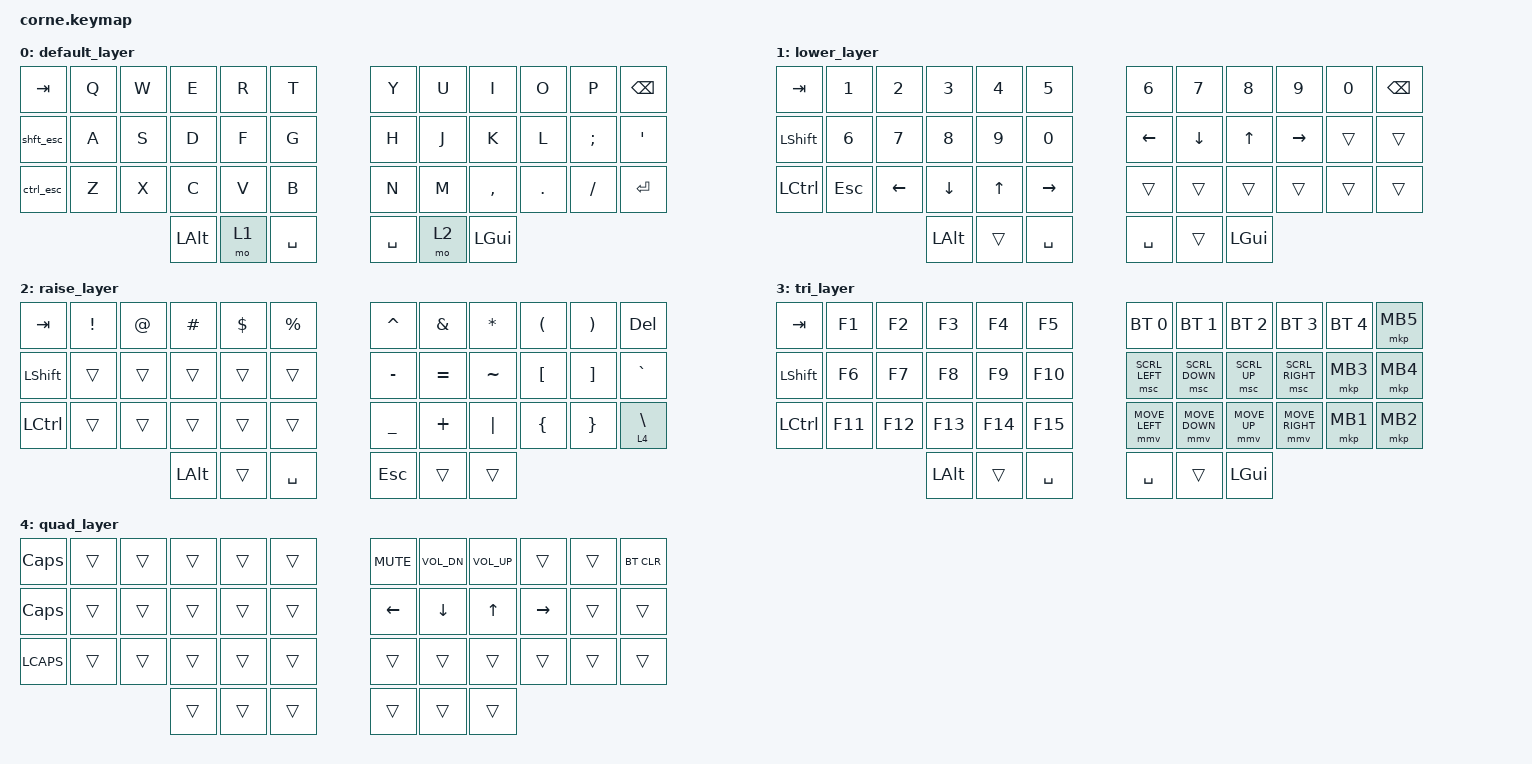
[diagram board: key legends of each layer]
/*
 * Copyright (c) 2020 The ZMK Contributors
 *
 * SPDX-License-Identifier: MIT
 */

#include <behaviors.dtsi>
#include <dt-bindings/zmk/keys.h>
#include <dt-bindings/zmk/bt.h>

// for mouse movements/click
#include <dt-bindings/zmk/pointing.h>

&mt {
	tapping-term-ms = <150>;
};

&lt {
	tapping-term-ms = <150>;
	quick-tap-ms = <150>;
};

/ {
	behaviors {
		ctrl_esc: tap_dance_0 {
			compatible = "zmk,behavior-tap-dance";
			#binding-cells = <0>;
			tapping-term-ms = <200>;
			bindings = <&kp LCTRL>, <&kp ESC>;
		};
		shft_esc: tap_dance_1 {
			compatible = "zmk,behavior-tap-dance";
			#binding-cells = <0>;
			tapping-term-ms = <200>;
			bindings = <&kp LSHFT>, <&kp ESC>;
		};
	};

  conditional_layers {
    compatible = "zmk,conditional-layers";
    tri_layer {
      if-layers = <1 2>;
      then-layer = <3>;
    };
  };

  keymap {
    compatible = "zmk,keymap";
    default_layer {
// -----------------------------------------------------------------------------------------
// |  TAB |  Q  |  W  |  E  |  R  |  T  |   |  Y  |  U   |  I  |  O  |  P  | BSPC |
// |*SHFT |  A  |  S  |  D  |  F  |  G  |   |  H  |  J   |  K  |  L  |  ;  |  '   |
// |*CTRL |  Z  |  X  |  C  |  V  |  B  |   |  N  |  M   |  ,  |  .  |  /  | ENT  |
//                    | ALT | LWR | SPC |   | SPC | RSE  | GUI |
      bindings = <
   &kp TAB   &kp Q &kp W &kp E &kp R &kp T   &kp Y &kp U  &kp I     &kp O   &kp P    &kp BSPC
   &shft_esc &kp A &kp S &kp D &kp F &kp G   &kp H &kp J  &kp K     &kp L   &kp SEMI &kp SQT
   &ctrl_esc &kp Z &kp X &kp C &kp V &kp B   &kp N &kp M  &kp COMMA &kp DOT &kp FSLH &kp RET
                     &kp LALT &mo 1 &kp SPACE     &kp SPACE &mo 2 &kp LGUI
      >;
    };

    lower_layer {
// -----------------------------------------------------------------------------------------
// | TAB  |  1  |  2  |  3  |  4  |  5  |   |  6  |  7  |  8  |  9  |  0  | BSPC |
// | SHFT |  6  |  7  |  8  |  9  |  0  |   | LFT | DWN |  UP | RGT |     |      |
// | CTRL | ESC | LFT | DWN | UP  | RGT |   |     |     |     |     |     |      |
//                    | ALT |     | SPC |   | SPC |     | GUI |
      bindings = <
   &kp TAB   &kp N1  &kp N2    &kp N3    &kp N4  &kp N5         &kp N6    &kp N7   &kp N8 &kp N9    &kp N0 &kp BSPC
   &kp LSHFT &kp N6  &kp N7    &kp N8    &kp N9  &kp N0         &kp LEFT  &kp DOWN &kp UP &kp RIGHT &trans &trans
   &kp LCTRL &kp ESC &kp LEFT  &kp DOWN  &kp UP  &kp RIGHT      &trans    &trans   &trans &trans    &trans &trans
                               &kp LALT  &trans  &kp SPACE      &kp SPACE &trans   &kp LGUI
      >;
    };

    raise_layer {
// -----------------------------------------------------------------------------------------
// |  TAB |  !  |  @  |  #  |  $  |  %  |   |  ^  |  &  |  *  |  (  |  )  | DEL |
// | SHFT |     |     |     |     |     |   |  -  |  =  |  ~  |  [  |  ]  |  `  |
// | CTRL |     |     |     |     |     |   |  _  |  +  | "|" |  {  |  }  |  \  |
//                    | ALT |     | SPC |   | ESC |     |     |
      bindings = <
   &kp  TAB  &kp EXCL &kp AT &kp HASH &kp DLLR &kp PRCNT   &kp CARET &kp AMPS  &kp ASTRK &kp LPAR &kp RPAR &kp DEL
   &kp LSHFT &trans   &trans &trans   &trans   &trans      &kp MINUS &kp EQUAL &kp TILDE &kp LBKT &kp RBKT &kp GRAVE
   &kp LCTRL &trans   &trans &trans   &trans   &trans      &kp UNDER &kp PLUS  &kp PIPE  &kp LBRC &kp RBRC &lt 4 BSLH
                             &kp LALT &trans   &kp SPACE   &kp ESC   &trans    &trans
      >;
    };

    tri_layer {
// -----------------------------------------------------------------------------------------
// |  TAB | F1  | F2  | F3  | F4  | F5  |   | BT1 | BT2 | BT3 | BT4 | BT5 | MB5 |
// | SHFT | F6  | F7  | F8  | F9  | F10 |   | SCROLL LT,DOWN,UP,RT  | MB3 | MB4 |
// | CTRL | F11 | F12 | F13 | F14 | F15 |   | MOUSE  LT,DOWN,UP,RT  | MB1 | MB2 |
//                    | ALT |     | SPC |   | SPC |     | GUI |
      bindings = <
   &kp TAB   &kp F1   &kp F2   &kp F3   &kp F4   &kp F5       &bt BT_SEL 0   &bt BT_SEL 1   &bt BT_SEL 2 &bt BT_SEL 3    &bt BT_SEL 4 &mkp MB5
   &kp LSHFT &kp F6   &kp F7   &kp F8   &kp F9   &kp F10      &msc SCRL_LEFT &msc SCRL_DOWN &msc SCRL_UP &msc SCRL_RIGHT &mkp MB3     &mkp MB4
   &kp LCTRL &kp F11  &kp F12  &kp F13  &kp F14  &kp F15      &mmv MOVE_LEFT &mmv MOVE_DOWN &mmv MOVE_UP &mmv MOVE_RIGHT &mkp MB1     &mkp MB2
                                &kp LALT  &trans  &kp SPACE    &kp SPACE      &trans   &kp LGUI
      >;
    };

    quad_layer {
// -----------------------------------------------------------------------------------------
// |     |     |     |     |     |     |   |     |     |     |     |     |BTCLR|
// | CAPS|     |     |     |     |     |   | LFT | DWN | UP  | RGT |     |     |
// |     |     |     |     |     |     |   |     |     |     |     |     |     |
//                   |     |     |     |   |     |     |     |
      bindings = <
   &kp CAPSLOCK &trans &trans &trans &trans &trans    &kp C_MUTE &kp C_VOL_DN &kp C_VOL_UP &trans &trans &bt BT_CLR
   &kp CAPS &trans &trans &trans &trans &trans    &kp LEFT &kp DOWN &kp UP &kp RIGHT &trans  &trans
   &kp LCAPS &trans &trans &trans &trans &trans    &trans   &trans   &trans &trans    &trans  &trans
                          &trans &trans &trans    &trans   &trans   &trans
      >;
    };
  };
};

